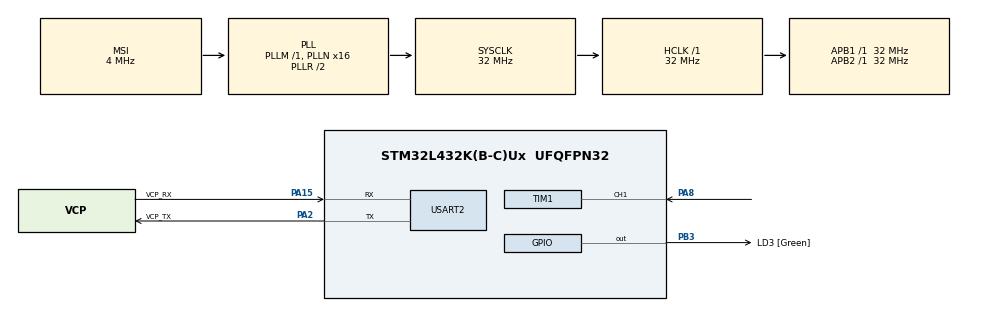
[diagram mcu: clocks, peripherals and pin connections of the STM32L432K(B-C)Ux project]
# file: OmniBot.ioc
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Mcu.Family=STM32L4
Mcu.Name=STM32L432K(B-C)Ux
Mcu.Package=UFQFPN32
NVIC.PriorityGroup=NVIC_PRIORITYGROUP_4
PA0.GPIO_Label=MCO [High speed clock in]
PA0.Mode=HSE-External-Clock-Source-for-LittleOrca
PA0.Signal=RCC_CK_IN
PA13\ (JTMS-SWDIO).GPIO_Label=SWDIO
PA13\ (JTMS-SWDIO).Mode=Serial_Wire
PA13\ (JTMS-SWDIO).Signal=SYS_JTMS-SWDIO
PA14\ (JTCK-SWCLK).GPIO_Label=SWCLK
PA14\ (JTCK-SWCLK).Mode=Serial_Wire
PA14\ (JTCK-SWCLK).Signal=SYS_JTCK-SWCLK
PA15\ (JTDI).GPIO_Label=VCP_RX
PA15\ (JTDI).Mode=Asynchronous
PA15\ (JTDI).Signal=USART2_RX
PA2.GPIO_Label=VCP_TX
PA2.Mode=Asynchronous
PA2.Signal=USART2_TX
PA8.Signal=S_TIM1_CH1
PB3\ (JTDO-TRACESWO).GPIO_Label=LD3 [Green]
PB3\ (JTDO-TRACESWO).Signal=GPIO_Output
PC14-OSC32_IN\ (PC14).Mode=LSE-External-Oscillator
PC14-OSC32_IN\ (PC14).Signal=RCC_OSC32_IN
PC15-OSC32_OUT\ (PC15).Mode=LSE-External-Oscillator
PC15-OSC32_OUT\ (PC15).Signal=RCC_OSC32_OUT
ProjectManager.HeapSize=0x200
ProjectManager.StackSize=0x400
ProjectManager.TargetToolchain=SW4STM32
RCC.AHBFreq_Value=32000000
RCC.APB1Freq_Value=32000000
RCC.APB1TimFreq_Value=32000000
RCC.APB2Freq_Value=32000000
RCC.APB2TimFreq_Value=32000000
RCC.CortexFreq_Value=32000000
RCC.HCLKFreq_Value=32000000
RCC.HSE_VALUE=8000000
RCC.HSI16_VALUE=16000000
RCC.HSI48_VALUE=48000000
RCC.HSI_VALUE=16000000
RCC.MSI_VALUE=4000000
RCC.PLLMUL=RCC_PLLMUL_4
RCC.PLLN=16
RCC.SYSCLKFreq_VALUE=32000000
RCC.SYSCLKSource=RCC_SYSCLKSOURCE_PLLCLK
RCC.VCOOutputFreq_Value=64000000
SH.S_TIM1_CH1.0=TIM1_CH1,PWM_Input_1
TIM1.Period=1066
USART2.VirtualMode-Asynchronous=VM_ASYNC
VP_TIM1_VS_ClockSourceINT.Mode=Internal
board=NUCLEO-L432KC

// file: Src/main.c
/**
 ******************************************************************************
 * @file           : main.c
 * @brief          : Main program body
 ******************************************************************************
 ** This notice applies to any and all portions of this file
 * that are not between comment pairs USER CODE BEGIN and
 * USER CODE END. Other portions of this file, whether
 * inserted by the user or by software development tools
 * are owned by their respective copyright owners.
 *
 * COPYRIGHT(c) 2018 STMicroelectronics
 *
 * Redistribution and use in source and binary forms, with or without modification,
 * are permitted provided that the following conditions are met:
 *   1. Redistributions of source code must retain the above copyright notice,
 *      this list of conditions and the following disclaimer.
 *   2. Redistributions in binary form must reproduce the above copyright notice,
 *      this list of conditions and the following disclaimer in the documentation
 *      and/or other materials provided with the distribution.
 *   3. Neither the name of STMicroelectronics nor the names of its contributors
 *      may be used to endorse or promote products derived from this software
 *      without specific prior written permission.
 *
 * THIS SOFTWARE IS PROVIDED BY THE COPYRIGHT HOLDERS AND CONTRIBUTORS "AS IS"
 * AND ANY EXPRESS OR IMPLIED WARRANTIES, INCLUDING, BUT NOT LIMITED TO, THE
 * IMPLIED WARRANTIES OF MERCHANTABILITY AND FITNESS FOR A PARTICULAR PURPOSE ARE
 * DISCLAIMED. IN NO EVENT SHALL THE COPYRIGHT HOLDER OR CONTRIBUTORS BE LIABLE
 * FOR ANY DIRECT, INDIRECT, INCIDENTAL, SPECIAL, EXEMPLARY, OR CONSEQUENTIAL
 * DAMAGES (INCLUDING, BUT NOT LIMITED TO, PROCUREMENT OF SUBSTITUTE GOODS OR
 * SERVICES; LOSS OF USE, DATA, OR PROFITS; OR BUSINESS INTERRUPTION) HOWEVER
 * CAUSED AND ON ANY THEORY OF LIABILITY, WHETHER IN CONTRACT, STRICT LIABILITY,
 * OR TORT (INCLUDING NEGLIGENCE OR OTHERWISE) ARISING IN ANY WAY OUT OF THE USE
 * OF THIS SOFTWARE, EVEN IF ADVISED OF THE POSSIBILITY OF SUCH DAMAGE.
 *
 ******************************************************************************
 */
#include "main.h"
#include "stm32l4xx_hal.h"
#include "tim.h"
#include "usart.h"
#include "gpio.h"

/* USER CODE BEGIN PV */
#define		WHEEL_DIAMETER   0.1
#define		SPEED 			 1 //rps

enum motor_direction {
    MOTOR_STOP = 0, MOTOR_CLOCKWISE = 1, MOTOR_COUNTERCLOCKWISE = 2
};

uint8_t rx_buf = 0;

uint8_t x_case = 0; //0-stop, 1-0.1m/s, 2-0.2m/s, 3-0.3m/s
uint8_t y_case = 0;
uint8_t w_case = 0;

uint8_t w_dir, x_dir, y_dir;
float x_vel;
float y_vel;

uint32_t pwm_value_w = 0;
uint32_t pwm_value_1 = 0;
uint32_t pwm_value_2 = 0;
//uint32_t pwm_value_3 = 200;
//uint32_t pwm_value_4 = 200;

uint8_t motor1_dir = 0;
uint8_t motor2_dir = 0;
uint8_t motor3_dir = 0;
uint8_t motor4_dir = 0;
uint8_t isStop = 0;

HAL_StatusTypeDef status;
/* Private variables ---------------------------------------------------------*/
/* USER CODE END PV */

void SystemClock_Config(void);

/* USER CODE BEGIN PFP */
/* Private function prototypes -----------------------------------------------*/
void extractW(uint8_t rx_buf);
void extractX(uint8_t rx_buf);
void extractY(uint8_t rx_buf);

int convertToInt(char *rx);
//uint32_t get_pwm(float vel);

void driveMotor(uint16_t pwm_value, uint8_t motor_num, uint16_t dir);
void setMotor1Dir();
void setMotor2Dir();
void setMotor3Dir();
void setMotor4Dir();

void move_to_pos();

/* USER CODE END PFP */

int main(void) {

    /* MCU Configuration----------------------------------------------------------*/

    /* Reset of all peripherals, Initializes the Flash interface and the Systick. */
    HAL_Init();

    /* Configure the system clock */
    SystemClock_Config();

    /* Initialize all configured peripherals */
    MX_GPIO_Init();
    MX_USART2_UART_Init();
    MX_TIM1_Init();

    /* Infinite loop */
    /* USER CODE BEGIN WHILE */
    while (1) {
        int prev = 0;
        /*1. Receive all pwm inputs from PC */
        do {
            status = HAL_UART_Receive(&huart2, &rx_buf, sizeof(uint8_t), 10);
            setMotor1Dir();
            setMotor2Dir();
            setMotor3Dir();
            setMotor4Dir();
            if (prev == 0) {
                HAL_TIM_PWM_Start(&htim1, TIM_CHANNEL_1);
                HAL_TIM_PWM_Start(&htim1, TIM_CHANNEL_2);
                HAL_TIM_PWM_Start(&htim1, TIM_CHANNEL_3);
                HAL_TIM_PWM_Start(&htim1, TIM_CHANNEL_4);
                prev = 1;
            }
        } while (status != HAL_OK);

        status = HAL_ERROR;
        HAL_TIM_PWM_Stop(&htim1, TIM_CHANNEL_1);
        HAL_TIM_PWM_Stop(&htim1, TIM_CHANNEL_2);
        HAL_TIM_PWM_Stop(&htim1, TIM_CHANNEL_3);
        HAL_TIM_PWM_Stop(&htim1, TIM_CHANNEL_4);
        /*2. Convert the character in buffers to floats/integers */
        /* Assumed: at max speed, the wheel is turning 1 rev/sec => 6.28*0.05*/
        // Update W[2], X[3] and Y[3]
        extractW(rx_buf);
        extractX(rx_buf);
        extractY(rx_buf);

        //pwm_value = convertToInt(rx_pwm_buf);

        /*3. Given the input information, determine the globals(motor_dir, speed, etc.)*/
        /*pwm_value_1 = get_pwm(x_vel);
         pwm_value_2 = get_pwm(y_vel);*/

        /*4. With the updated globals, actuate the motors*/
        move_to_pos();

        /* USER CODE END WHILE */

        /* USER CODE BEGIN 3 */
        HAL_UART_Transmit(&huart2, &rx_buf, 1, 10);
        // HAL_UART_Transmit(&huart2, (unsigned char *) "next", 4, 1000);
        // HAL_Delay(100);
    }

    /* USER CODE END 3 */

}

void SystemClock_Config(void) {

    RCC_OscInitTypeDef RCC_OscInitStruct;
    RCC_ClkInitTypeDef RCC_ClkInitStruct;
    RCC_PeriphCLKInitTypeDef PeriphClkInit;

    /**Configure LSE Drive Capability
     */
    HAL_PWR_EnableBkUpAccess();

    __HAL_RCC_LSEDRIVE_CONFIG(RCC_LSEDRIVE_LOW);

    /**Initializes the CPU, AHB and APB busses clocks
     */
    RCC_OscInitStruct.OscillatorType = RCC_OSCILLATORTYPE_LSE
            | RCC_OSCILLATORTYPE_MSI;
    RCC_OscInitStruct.LSEState = RCC_LSE_ON;
    RCC_OscInitStruct.MSIState = RCC_MSI_ON;
    RCC_OscInitStruct.MSICalibrationValue = 0;
    RCC_OscInitStruct.MSIClockRange = RCC_MSIRANGE_6;
    RCC_OscInitStruct.PLL.PLLState = RCC_PLL_ON;
    RCC_OscInitStruct.PLL.PLLSource = RCC_PLLSOURCE_MSI;
    RCC_OscInitStruct.PLL.PLLM = 1;
    RCC_OscInitStruct.PLL.PLLN = 16;
    RCC_OscInitStruct.PLL.PLLP = RCC_PLLP_DIV7;
    RCC_OscInitStruct.PLL.PLLQ = RCC_PLLQ_DIV2;
    RCC_OscInitStruct.PLL.PLLR = RCC_PLLR_DIV2;
    if (HAL_RCC_OscConfig(&RCC_OscInitStruct) != HAL_OK) {
        _Error_Handler(__FILE__, __LINE__);
    }

    /**Initializes the CPU, AHB and APB busses clocks
     */
    RCC_ClkInitStruct.ClockType = RCC_CLOCKTYPE_HCLK | RCC_CLOCKTYPE_SYSCLK
            | RCC_CLOCKTYPE_PCLK1 | RCC_CLOCKTYPE_PCLK2;
    RCC_ClkInitStruct.SYSCLKSource = RCC_SYSCLKSOURCE_PLLCLK;
    RCC_ClkInitStruct.AHBCLKDivider = RCC_SYSCLK_DIV1;
    RCC_ClkInitStruct.APB1CLKDivider = RCC_HCLK_DIV1;
    RCC_ClkInitStruct.APB2CLKDivider = RCC_HCLK_DIV1;

    if (HAL_RCC_ClockConfig(&RCC_ClkInitStruct, FLASH_LATENCY_1) != HAL_OK) {
        _Error_Handler(__FILE__, __LINE__);
    }

    PeriphClkInit.PeriphClockSelection = RCC_PERIPHCLK_USART2;
    PeriphClkInit.Usart2ClockSelection = RCC_USART2CLKSOURCE_PCLK1;
    if (HAL_RCCEx_PeriphCLKConfig(&PeriphClkInit) != HAL_OK) {
        _Error_Handler(__FILE__, __LINE__);
    }

    /**Configure the main internal regulator output voltage
     */
    if (HAL_PWREx_ControlVoltageScaling(PWR_REGULATOR_VOLTAGE_SCALE1)
            != HAL_OK) {
        _Error_Handler(__FILE__, __LINE__);
    }

    /**Configure the Systick interrupt time
     */
    HAL_SYSTICK_Config(HAL_RCC_GetHCLKFreq() / 1000);

    /**Configure the Systick
     */
    HAL_SYSTICK_CLKSourceConfig(SYSTICK_CLKSOURCE_HCLK);

    /**Enable MSI Auto calibration
     */
    HAL_RCCEx_EnableMSIPLLMode();

    /* SysTick_IRQn interrupt configuration */
    HAL_NVIC_SetPriority(SysTick_IRQn, 0, 0);
}

/* USER CODE BEGIN 4 */
void extractW(uint8_t rx_buf) {
    //SIGN 1/0 _ _ _ _ _ _
    //updates 0b_ _ , first element being 1(CW) or 0(CCW), and second element being 1(turn) or 0(stop)
    uint8_t w_case = rx_buf >> 6;
    switch (w_case) {
    case 1: //0b01: CCW, rotate
        w_dir = 2;
        pwm_value_w = 150;
        break;
    case 3: //0b11: CW, rotate
        w_dir = 1;
        pwm_value_w = 150;
        break;
    default:
        w_dir = 0;
        pwm_value_w = 0;
        break;
    }
}

void extractX(uint8_t rx_buf) {
    //_ _ SIGN X1 X2 _ _ _
    //updates 0b_ _ _,first element being 1(CW) or 0(CCW), and second/third element being the
    uint8_t x_case = (rx_buf >> 3) & 0b00000111;
    switch (x_case) {
    case 1: //0b001: -dir, 0.1m/s
        x_dir = 2;
        pwm_value_1 = 130;
        break;
    case 2: //0b010: -dir, 0.2m/s
        x_dir = 2;
        pwm_value_1 = 160;
        break;
    case 3: //0b011: -dir, 0.3m/s
        x_dir = 2;
        pwm_value_1 = 200;
        break;
    case 5: //0b101: +dir, 0.1m/s
        x_dir = 1;
        pwm_value_1 = 130;
        break;
    case 6: //0b110: +dir, 0.2m/s
        x_dir = 1;
        pwm_value_1 = 160;
        break;
    case 7: //0b111: +dir, 0.3m/s
        x_dir = 1;
        pwm_value_1 = 200;
        break;
    default:
        pwm_value_1 = 0;
        x_dir = 0;
        break;
    }
}

void extractY(uint8_t rx_buf) {
    //_ _ _ _ _ SIGN Y1 Y2
    uint8_t y_case = rx_buf & 0b00000111;
    switch (y_case) {
    case 1: //0b001: -dir, 0.1m/s
        y_dir = 2;
        pwm_value_2 = 130;
        break;
    case 2: //0b010: -dir, 0.2m/s
        y_dir = 2;
        pwm_value_2 = 160;
        break;
    case 3: //0b011: -dir, 0.3m/s
        y_dir = 2;
        pwm_value_2 = 200;
        break;
    case 5: //0b101: +dir, 0.1m/s
        y_dir = 1;
        pwm_value_2 = 130;
        break;
    case 6: //0b110: +dir, 0.2m/s
        y_dir = 1;
        pwm_value_2 = 160;
        break;
    case 7: //0b111: +dir, 0.3m/s
        y_dir = 1;
        pwm_value_2 = 200;
        break;
    default:
        y_dir = 0;
        pwm_value_2 = 0;
        break;
    }
}

int convertToInt(char *rx) {
    uint8_t hund = rx[0] - '0';
    uint8_t ten = rx[1] - '0';
    uint8_t one = rx[2] - '0';
    int res = hund * 100 + ten * 10 + one;
    return res;
}

/*uint32_t get_pwm(float vel) {
 float abs_vel = vel;
 if (vel < 0) {
 abs_vel = -vel;
 }

 float rps = abs_vel / (WHEEL_DIAMETER * 3.1416);
 uint32_t pwm_value = 130 + (rps / SPEED) * 70;
 return pwm_value;
 }*/

void move_to_pos() {
    if (w_dir == 1) { //CW
        driveMotor(pwm_value_w, 1, MOTOR_COUNTERCLOCKWISE);
        driveMotor(pwm_value_w, 2, MOTOR_COUNTERCLOCKWISE);
        driveMotor(pwm_value_w, 3, MOTOR_COUNTERCLOCKWISE);
        driveMotor(pwm_value_w, 4, MOTOR_COUNTERCLOCKWISE);
    } else if (w_dir == 2) { //CCW
        driveMotor(pwm_value_w, 1, MOTOR_CLOCKWISE);
        driveMotor(pwm_value_w, 2, MOTOR_CLOCKWISE);
        driveMotor(pwm_value_w, 3, MOTOR_CLOCKWISE);
        driveMotor(pwm_value_w, 4, MOTOR_CLOCKWISE);
    } else if (y_dir == 1) {
        driveMotor(pwm_value_2, 1, MOTOR_STOP);
        driveMotor(pwm_value_2, 2, MOTOR_COUNTERCLOCKWISE);
        driveMotor(pwm_value_2, 3, MOTOR_STOP);
        driveMotor(pwm_value_2, 4, MOTOR_CLOCKWISE);
    } else if (y_dir == 2) {
        driveMotor(pwm_value_2, 1, MOTOR_STOP);
        driveMotor(pwm_value_2, 2, MOTOR_CLOCKWISE);
        driveMotor(pwm_value_2, 3, MOTOR_STOP);
        driveMotor(pwm_value_2, 4, MOTOR_COUNTERCLOCKWISE);
    } else if (x_dir == 1) {
        driveMotor(pwm_value_1, 1, MOTOR_COUNTERCLOCKWISE);
        driveMotor(pwm_value_1, 2, MOTOR_STOP);
        driveMotor(pwm_value_1, 3, MOTOR_CLOCKWISE);
        driveMotor(pwm_value_1, 4, MOTOR_STOP);
    } else if (x_dir == 2) {
        driveMotor(pwm_value_1, 1, MOTOR_CLOCKWISE);
        driveMotor(pwm_value_1, 2, MOTOR_STOP);
        driveMotor(pwm_value_1, 3, MOTOR_COUNTERCLOCKWISE);
        driveMotor(pwm_value_1, 4, MOTOR_STOP);
    }
    else {
        driveMotor(pwm_value_w, 1, MOTOR_STOP);
        driveMotor(pwm_value_w, 2, MOTOR_STOP);
        driveMotor(pwm_value_w, 3, MOTOR_STOP);
        driveMotor(pwm_value_w, 4, MOTOR_STOP);
    }
    return;
}

void setMotor1Dir() {
    switch (motor1_dir) {
    case MOTOR_CLOCKWISE:
        HAL_GPIO_WritePin(GPIOB, GPIO_PIN_1, GPIO_PIN_SET);
        HAL_GPIO_WritePin(GPIOB, GPIO_PIN_0, GPIO_PIN_RESET);
        break;
    case MOTOR_COUNTERCLOCKWISE:
        HAL_GPIO_WritePin(GPIOB, GPIO_PIN_1, GPIO_PIN_RESET);
        HAL_GPIO_WritePin(GPIOB, GPIO_PIN_0, GPIO_PIN_SET);
        break;
    case MOTOR_STOP:
        HAL_GPIO_WritePin(GPIOB, GPIO_PIN_1, GPIO_PIN_RESET);
        HAL_GPIO_WritePin(GPIOB, GPIO_PIN_0, GPIO_PIN_RESET);
        break;
    default:
        break;
    }
}

void setMotor2Dir() {
    switch (motor2_dir) {
    case MOTOR_CLOCKWISE:
        HAL_GPIO_WritePin(GPIOA, GPIO_PIN_7, GPIO_PIN_SET);
        HAL_GPIO_WritePin(GPIOA, GPIO_PIN_6, GPIO_PIN_RESET);
        break;
    case MOTOR_COUNTERCLOCKWISE:
        HAL_GPIO_WritePin(GPIOA, GPIO_PIN_7, GPIO_PIN_RESET);
        HAL_GPIO_WritePin(GPIOA, GPIO_PIN_6, GPIO_PIN_SET);
        break;
    case MOTOR_STOP:
        HAL_GPIO_WritePin(GPIOA, GPIO_PIN_7, GPIO_PIN_RESET);
        HAL_GPIO_WritePin(GPIOA, GPIO_PIN_6, GPIO_PIN_RESET);
        break;
    default:
        break;
    }
}

void setMotor3Dir() {
    switch (motor3_dir) {
    case MOTOR_CLOCKWISE:
        HAL_GPIO_WritePin(GPIOA, GPIO_PIN_4, GPIO_PIN_SET);
        HAL_GPIO_WritePin(GPIOA, GPIO_PIN_5, GPIO_PIN_RESET);
        break;
    case MOTOR_COUNTERCLOCKWISE:
        HAL_GPIO_WritePin(GPIOA, GPIO_PIN_4, GPIO_PIN_RESET);
        HAL_GPIO_WritePin(GPIOA, GPIO_PIN_5, GPIO_PIN_SET);
        break;
    case MOTOR_STOP:
        HAL_GPIO_WritePin(GPIOA, GPIO_PIN_4, GPIO_PIN_RESET);
        HAL_GPIO_WritePin(GPIOA, GPIO_PIN_5, GPIO_PIN_RESET);
    }
}

void setMotor4Dir() {
    switch (motor4_dir) {
    case MOTOR_CLOCKWISE:
        HAL_GPIO_WritePin(GPIOB, GPIO_PIN_5, GPIO_PIN_SET);
        HAL_GPIO_WritePin(GPIOB, GPIO_PIN_4, GPIO_PIN_RESET);
        break;
    case MOTOR_COUNTERCLOCKWISE:
        HAL_GPIO_WritePin(GPIOB, GPIO_PIN_5, GPIO_PIN_RESET);
        HAL_GPIO_WritePin(GPIOB, GPIO_PIN_4, GPIO_PIN_SET);
        break;
    case MOTOR_STOP:
        HAL_GPIO_WritePin(GPIOB, GPIO_PIN_5, GPIO_PIN_RESET);
        HAL_GPIO_WritePin(GPIOB, GPIO_PIN_4, GPIO_PIN_RESET);
        break;
    default:
        break;
    }
}

void driveMotor(uint16_t pwm_value, uint8_t motor_num, uint16_t dir) {
//Set PWM values and Motor Directions
    switch (motor_num) {
    case 1:
        motor1_dir = dir;
        __HAL_TIM_SetCompare(&htim1, TIM_CHANNEL_1, pwm_value);
        break;
    case 2:
        motor2_dir = dir;
        __HAL_TIM_SetCompare(&htim1, TIM_CHANNEL_2, pwm_value);
        break;
    case 3:
        motor3_dir = dir;
        __HAL_TIM_SetCompare(&htim1, TIM_CHANNEL_3, pwm_value);
        break;
    case 4:
        motor4_dir = dir;
        __HAL_TIM_SetCompare(&htim1, TIM_CHANNEL_4, pwm_value);
        break;
    default:
        break;
    }
}

//int get_pwm_speed(uint8_t speed){
//	uint8_t rpm = speed/(WHEEL_DIAMETER *)
//}
/* USER CODE END 4 */

void _Error_Handler(char *file, int line) {
    while (1) {
    }
}

/************************ (C) COPYRIGHT STMicroelectronics *****END OF FILE****/
